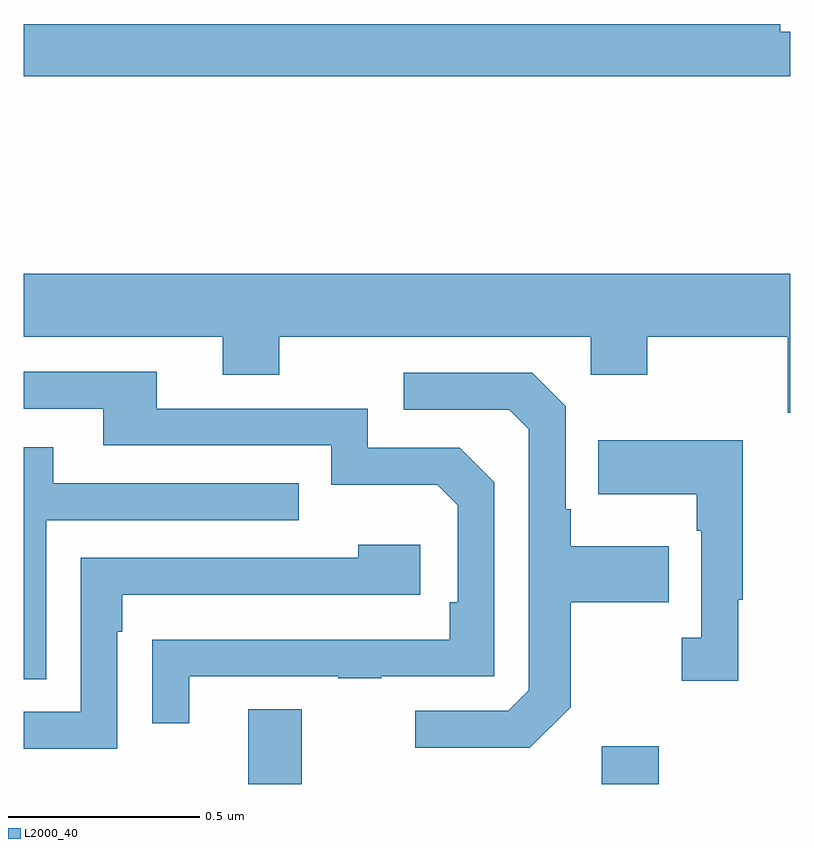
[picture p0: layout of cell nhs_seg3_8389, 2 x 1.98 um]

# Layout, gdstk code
import gdstk
lib = gdstk.Library(unit=1e-6, precision=1e-09)
def R(c, l, rs):  # rectangles x0, y0, x1, y1
    for r in rs: c.add(gdstk.rectangle(r[:2], r[2:], *l))
def P(c, l, *ps):  # polygons
    for p in ps: c.add(gdstk.Polygon(p, *l))
L2000_40 = (2000, 40)

nhs_seg3_8389 = lib.new_cell('nhs_seg3_8389')
R(nhs_seg3_8389, L2000_40, [(215.585,714.4,215.725,714.595), (216.509,714.4,216.657,714.499)])
P(nhs_seg3_8389, L2000_40, [(217,716.364),(216.974,716.364),(216.974,716.384),(215,716.384),(215,716.248),(217,716.248)],
  [(217,715.732),(215,715.732),(215,715.568),(215.519,715.568),(215.519,715.469),(215.667,715.469),(215.667,715.568),(216.48,715.568),(216.48,715.469),(216.627,715.469),(216.627,715.568),(216.994,715.568),(216.994,715.369),(217,715.369)],
  [(215.431,714.681),(215.821,714.681),(215.821,714.676),(215.933,714.676),(215.933,714.681),(216.228,714.681),(216.228,715.188),(216.138,715.278),(215.898,715.278),(215.898,715.38),(215.347,715.38),(215.347,715.476),(215,715.476),(215,715.38),(215.207,715.38),(215.207,715.284),(215.802,715.284),(215.802,715.181),(216.079,715.181),(216.132,715.128),(216.132,714.874),(216.112,714.874),(216.112,714.777),(215.437,714.777),(215.437,714.776),(215.335,714.776),(215.335,714.558),(215.431,714.558)],
  [(216.427,714.601),(216.427,714.874),(216.683,714.874),(216.683,715.021),(216.427,715.021),(216.427,715.117),(216.414,715.117),(216.414,715.386),(216.327,715.473),(215.991,715.473),(215.991,715.377),(216.267,715.377),(216.318,715.326),(216.318,714.645),(216.264,714.591),(216.021,714.591),(216.021,714.495),(216.321,714.495)],
  [(216.865,714.881),(216.877,714.881),(216.877,715.297),(216.499,715.297),(216.499,715.157),(216.756,715.157),(216.756,715.061),(216.768,715.061),(216.768,714.782),(216.717,714.782),(216.717,714.669),(216.865,714.669)],
  [(215.058,715.089),(215.717,715.089),(215.717,715.185),(215.077,715.185),(215.077,715.279),(215,715.279),(215,714.673),(215.058,714.673)],
  [(215.244,714.797),(215.257,714.797),(215.257,714.894),(216.034,714.894),(216.034,715.024),(215.873,715.024),(215.873,714.99),(215.148,714.99),(215.148,714.588),(215,714.588),(215,714.492),(215.244,714.492)])

lib.write_gds('nhs_seg3_8389.gds')
